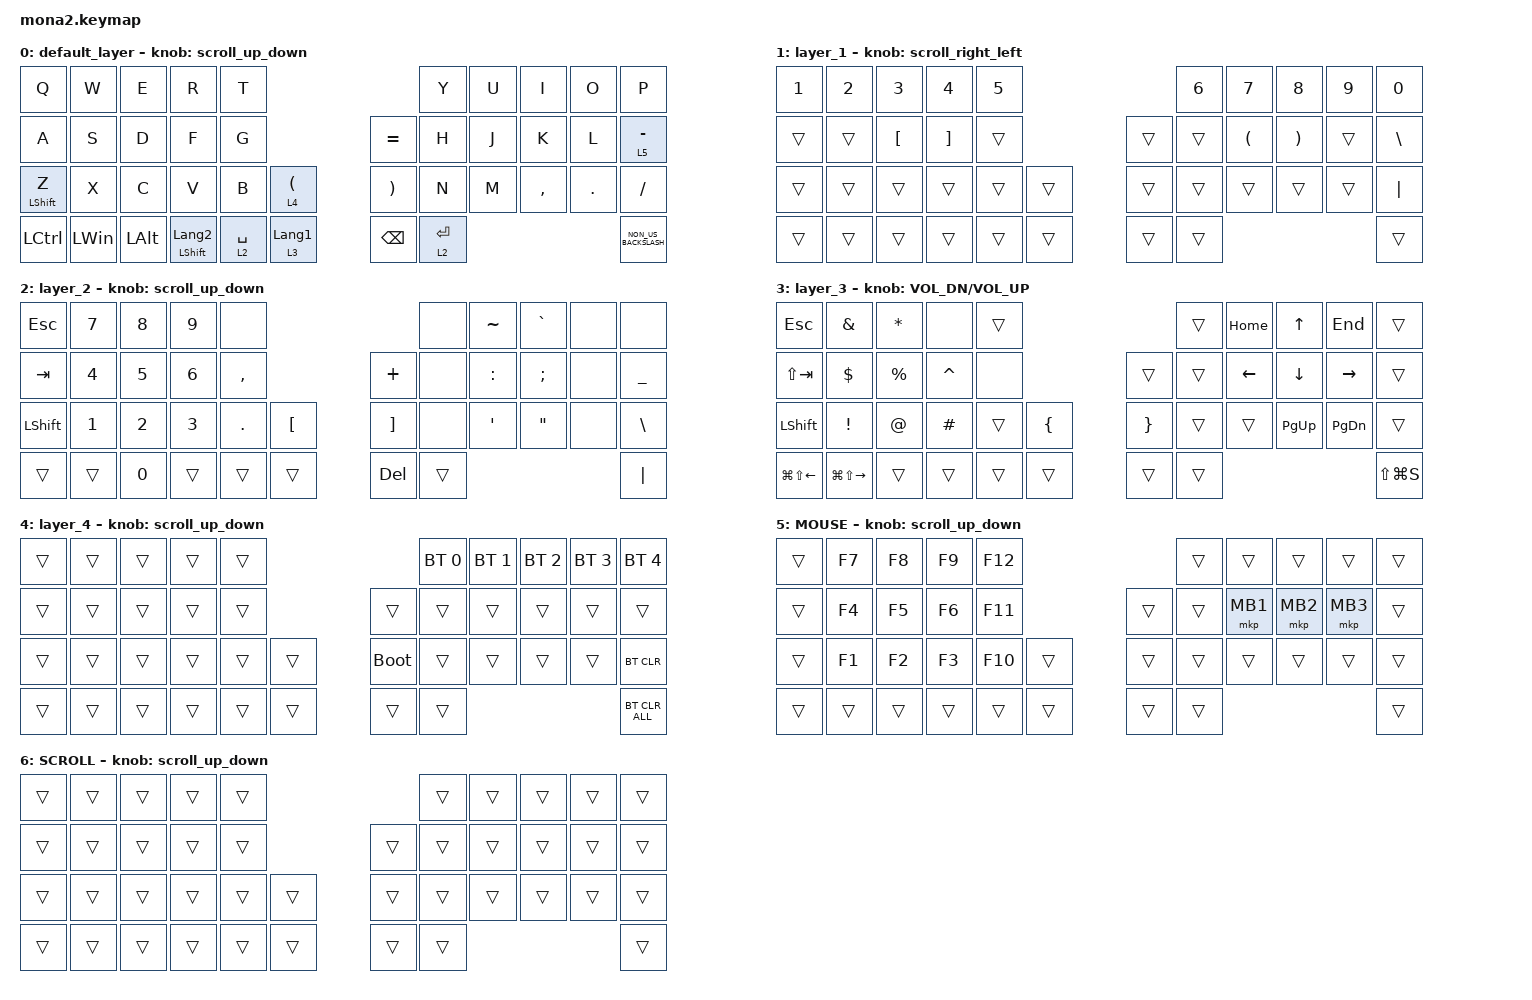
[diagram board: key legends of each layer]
#include <input/processors.dtsi>
#include <dt-bindings/zmk/input_transform.h>
#include <zephyr/dt-bindings/input/input-event-codes.h>
#include <behaviors.dtsi>
#include <dt-bindings/zmk/bt.h>
#include <dt-bindings/zmk/keys.h>
#include <dt-bindings/zmk/pointing.h>

#define ZMK_POINTING_DEFAULT_SCRL_VAL 100
#define MOUSE 5
#define SCROLL 6

&mt {
    flavor = "balanced";
    quick-tap-ms = <0>;
};

&lt {
    quick-tap-ms = <300>;
    flavor = "balanced";
};

/ {
    combos {
        compatible = "zmk,combos";

        layer4_ESC {
            bindings = <&lt 4 ESC>;
            key-positions = <39 38>;
        };

        tab {
            bindings = <&kp TAB>;
            key-positions = <11 12>;
        };
    };

    macros {
        to_layer_0: to_layer_0 {
            compatible = "zmk,behavior-macro-one-param";
            #binding-cells = <1>;
            bindings = <&to 0 &macro_param_1to1 &kp MACRO_PLACEHOLDER>;
            label = "TO_LAYER_0";
        };
    };

    behaviors {
        lt_to_layer_0: lt_to_layer_0 {
            compatible = "zmk,behavior-hold-tap";
            label = "LAYER_TAP_TO_0";
            bindings = <&mo>, <&to_layer_0>;

            #binding-cells = <2>;
            tapping-term-ms = <200>;
        };

        scroll_up_down: mouse_wheel_up_down {
            compatible = "zmk,behavior-sensor-rotate";
            #sensor-binding-cells = <0>;
            bindings = <&msc SCRL_DOWN>, <&msc SCRL_UP>;

            tap-ms = <20>;
        };

        scroll_right_left: mouse_wheel_right_left {
            compatible = "zmk,behavior-sensor-rotate";
            #sensor-binding-cells = <0>;
            bindings = <&msc SCRL_LEFT>, <&msc SCRL_RIGHT>;

            tap-ms = <20>;
        };
    };

    keymap {
        compatible = "zmk,keymap";

        default_layer {
            bindings = <
&kp Q             &kp W         &kp E         &kp R                      &kp T                                                              &kp Y        &kp U  &kp I      &kp O    &kp P
&kp A             &kp S         &kp D         &kp F                      &kp G                                       &kp EQUAL              &kp H        &kp J  &kp K      &kp L    &lt 5 MINUS
&mt LEFT_SHIFT Z  &kp X         &kp C         &kp V                      &kp B        &lt 4 LEFT_PARENTHESIS         &kp RIGHT_PARENTHESIS  &kp N        &kp M  &kp COMMA  &kp DOT  &kp SLASH
&kp LCTRL         &kp LEFT_WIN  &kp LEFT_ALT  &mt LEFT_SHIFT LANGUAGE_2  &lt 2 SPACE  &lt_to_layer_0 3 LANGUAGE_1    &kp BACKSPACE          &lt 2 ENTER                             &kp NON_US_BACKSLASH
            >;

            sensor-bindings = <&scroll_up_down>;
        };

        layer_1 {
            bindings = <
&kp NUMBER_1  &kp NUMBER_2  &kp NUMBER_3      &kp NUMBER_4       &kp NUMBER_5                    &kp NUMBER_6  &kp NUMBER_7          &kp NUMBER_8           &kp NUMBER_9  &kp NUMBER_0
&trans        &trans        &kp LEFT_BRACKET  &kp RIGHT_BRACKET  &trans                  &trans  &trans        &kp LEFT_PARENTHESIS  &kp RIGHT_PARENTHESIS  &trans        &kp BACKSLASH
&trans        &trans        &trans            &trans             &trans        &trans    &trans  &trans        &trans                &trans                 &trans        &kp PIPE
&trans        &trans        &trans            &trans             &trans        &trans    &trans  &trans                                                                   &trans
            >;

            sensor-bindings = <&scroll_right_left>;
        };

        layer_2 {
            bindings = <
&kp ESC         &kp N7  &kp N8  &kp N9  &none                              &none   &kp TILDE  &kp GRAVE          &none  &none
&kp TAB         &kp N4  &kp N5  &kp N6  &kp COMMA              &kp PLUS    &none   &kp COLON  &kp SEMICOLON      &none  &kp UNDERSCORE
&kp LEFT_SHIFT  &kp N1  &kp N2  &kp N3  &kp DOT    &kp LBKT    &kp RBKT    &none   &kp APOS   &kp DOUBLE_QUOTES  &none  &kp BSLH
&trans          &trans  &kp N0  &trans  &trans     &trans      &kp DELETE  &trans                                       &kp PIPE
            >;

            sensor-bindings = <&scroll_up_down>;
        };

        layer_3 {
            bindings = <
&kp ESCAPE        &kp AMPERSAND      &kp ASTERISK  &none      &trans                                     &trans  &kp HOME        &kp UP_ARROW    &kp END          &trans
&kp LS(TAB)       &kp DOLLAR         &kp PERCENT   &kp CARET  &none                     &trans           &trans  &kp LEFT_ARROW  &kp DOWN_ARROW  &kp RIGHT_ARROW  &trans
&kp LEFT_SHIFT    &kp EXCLAMATION    &kp AT_SIGN   &kp HASH   &trans  &kp LEFT_BRACE    &kp RIGHT_BRACE  &trans  &trans          &kp PAGE_UP     &kp PAGE_DOWN    &trans
&kp LG(LS(LEFT))  &kp LG(LS(RIGHT))  &trans        &trans     &trans  &trans            &trans           &trans                                                   &kp LS(LG(S))
            >;

            sensor-bindings = <&inc_dec_kp C_VOL_DN C_VOL_UP>;
        };

        layer_4 {
            bindings = <
&trans  &trans  &trans  &trans  &trans                         &bt BT_SEL 0  &bt BT_SEL 1  &bt BT_SEL 2  &bt BT_SEL 3  &bt BT_SEL 4
&trans  &trans  &trans  &trans  &trans            &trans       &trans        &trans        &trans        &trans        &trans
&trans  &trans  &trans  &trans  &trans  &trans    &bootloader  &trans        &trans        &trans        &trans        &bt BT_CLR
&trans  &trans  &trans  &trans  &trans  &trans    &trans       &trans                                                  &bt BT_CLR_ALL
            >;

            sensor-bindings = <&scroll_up_down>;
        };

        MOUSE {
            bindings = <
&trans  &kp F7  &kp F8  &kp F9  &kp F12                    &trans  &trans    &trans    &trans    &trans
&trans  &kp F4  &kp F5  &kp F6  &kp F11            &trans  &trans  &mkp MB1  &mkp MB2  &mkp MB3  &trans
&trans  &kp F1  &kp F2  &kp F3  &kp F10  &trans    &trans  &trans  &trans    &trans    &trans    &trans
&trans  &trans  &trans  &trans  &trans   &trans    &trans  &trans                                &trans
            >;

            sensor-bindings = <&scroll_up_down>;
        };

        SCROLL {
            bindings = <
&trans  &trans  &trans  &trans  &trans                    &trans  &trans  &trans  &trans  &trans
&trans  &trans  &trans  &trans  &trans            &trans  &trans  &trans  &trans  &trans  &trans
&trans  &trans  &trans  &trans  &trans  &trans    &trans  &trans  &trans  &trans  &trans  &trans
&trans  &trans  &trans  &trans  &trans  &trans    &trans  &trans                          &trans
            >;

            sensor-bindings = <&scroll_up_down>;
        };
    };
};
